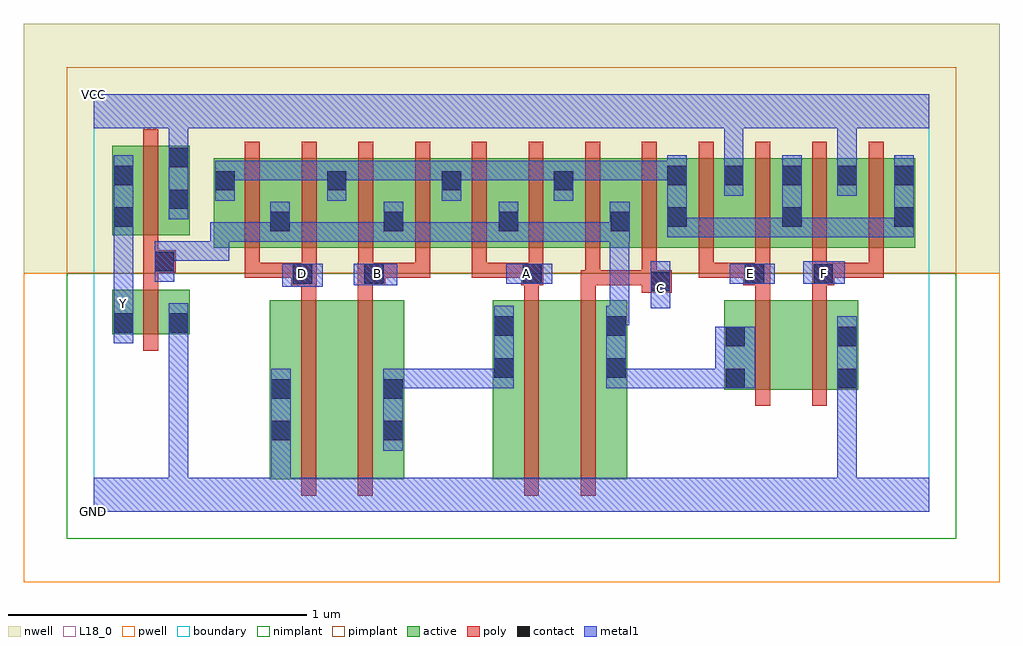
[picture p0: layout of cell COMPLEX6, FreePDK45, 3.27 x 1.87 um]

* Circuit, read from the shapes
.subckt COMPLEX6 A B C D E F GND VCC Y
M1 GND n1 Y VSUBS nfet w=0.15u l=0.05u
M2 n2 D GND VSUBS nfet w=0.6u l=0.05u
M3 n3 B n2 VSUBS nfet w=0.6u l=0.05u
M4 n4 A n3 VSUBS nfet w=0.6u l=0.05u
M5 n1 C n4 VSUBS nfet w=0.6u l=0.05u
M6 n5 E n1 VSUBS nfet w=0.3u l=0.05u
M7 GND F n5 VSUBS nfet w=0.3u l=0.05u
M8 VCC n1 Y n6 pfet w=0.3u l=0.05u
M9 n1 D n7 n6 pfet w=0.3u l=0.05u m=2
M10 n1 B n7 n6 pfet w=0.3u l=0.05u m=2
M11 n1 A n7 n6 pfet w=0.3u l=0.05u m=2
M12 n1 C n7 n6 pfet w=0.3u l=0.05u m=2
M13 VCC E n7 n6 pfet w=0.3u l=0.05u m=2
M14 VCC F n7 n6 pfet w=0.3u l=0.05u m=2
.ends

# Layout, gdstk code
import gdstk
lib = gdstk.Library(unit=1e-6, precision=1e-09)
def R(c, l, rs):  # rectangles x0, y0, x1, y1
    for r in rs: c.add(gdstk.rectangle(r[:2], r[2:], *l))
def A(c, l, x, y, w, h, nx, ny, dx, dy):  # array of equal rectangles
    R(c, l, [(x+i*dx, y+j*dy, x+i*dx+w, y+j*dy+h) for i in range(nx) for j in range(ny)])
active = (1, 0)
pwell = (2, 0)
nwell = (3, 0)
nimplant = (4, 0)
pimplant = (5, 0)
poly = (9, 0)
contact = (10, 0)
metal1 = (11, 0)
L18_0 = (18, 0)
boundary = (235, 0)

complex6 = lib.new_cell('COMPLEX6')
A(complex6, active, 0.402, 0.885, 0.26, 0.3, 3, 1, 0.95, 0)
A(complex6, active, 1.537, 0.885, 0.265, 0.3, 3, 1, 0.19, 0)
R(complex6, active, [(0.59,0.11,0.815,0.71), (0.815,0.11,1.04,0.71), (1.337,0.11,1.562,0.71), (1.562,0.11,1.787,0.71), (0.59,0.145,0.665,0.71), (0.965,0.145,1.04,0.71), (1.337,0.145,1.442,0.71), (1.712,0.145,1.787,0.71), (2.112,0.41,2.187,0.71), (2.112,0.41,2.337,0.71), (2.337,0.41,2.562,0.71), (2.487,0.41,2.562,0.71), (0.062,0.595,0.137,0.745), (0.062,0.595,0.322,0.745), (0.247,0.595,0.322,0.745), (0.402,0.885,0.477,1.185), (0.587,0.885,0.852,1.185), (0.777,0.885,1.042,1.185), (0.967,0.885,1.237,1.185), (1.162,0.885,1.427,1.185), (2.107,0.885,2.377,1.185), (2.302,0.885,2.377,1.167), (2.487,0.885,2.752,1.185), (2.677,0.885,2.752,1.167), (0.062,0.927,0.322,1.227), (0.062,0.927,0.137,1.2), (0.247,0.927,0.322,1.225), (0.587,0.935,0.662,1.07), (0.967,0.935,1.042,1.07), (1.352,0.935,1.427,1.07), (1.727,0.935,1.802,1.07), (1.917,0.95,1.992,1.167), (0.777,0.995,0.852,1.167), (1.162,0.995,1.237,1.167), (1.537,0.995,1.612,1.167), (2.107,0.995,2.182,1.167), (2.487,0.995,2.562,1.185)])
R(complex6, pwell, [(-0.235,-0.235,3.035,0.8)])
R(complex6, nwell, [(-0.235,0.8,3.035,1.635)])
R(complex6, nimplant, [(-0.09,-0.09,2.89,0.8)])
R(complex6, pimplant, [(-0.09,0.8,2.89,1.49)])
A(complex6, poly, 0.507, 0.785, 0.05, 0.095, 6, 1, 0.19, 0)
A(complex6, poly, 2.027, 0.785, 0.05, 0.095, 4, 1, 0.19, 0)
A(complex6, poly, 0.507, 0.83, 0.05, 0.41, 12, 1, 0.19, 0)
R(complex6, poly, [(0.695,0.055,0.745,0.765), (0.885,0.055,0.935,0.765), (1.442,0.055,1.492,0.765), (1.632,0.055,1.682,0.765), (2.217,0.355,2.267,0.765), (2.407,0.355,2.457,0.765), (0.167,0.54,0.217,0.8), (0.695,0.715,0.745,0.81), (0.885,0.715,0.935,0.81), (1.442,0.715,1.492,0.81), (1.632,0.715,1.682,0.81), (2.217,0.715,2.267,0.81), (2.407,0.715,2.457,0.81), (1.837,0.735,1.937,0.81), (0.167,0.75,0.217,0.852), (0.662,0.76,0.747,0.835), (0.885,0.76,0.977,0.835), (1.432,0.76,1.507,0.835), (1.632,0.76,1.697,0.81), (1.647,0.76,1.697,0.88), (1.647,0.76,1.887,0.81), (1.837,0.76,1.887,0.81), (1.837,0.76,1.887,0.81), (1.837,0.76,1.887,0.88), (2.177,0.76,2.267,0.835), (2.407,0.76,2.482,0.835), (0.507,0.785,0.557,0.835), (0.507,0.785,0.557,0.835), (0.507,0.785,0.557,0.835), (0.507,0.785,0.712,0.835), (0.927,0.785,0.977,0.835), (0.927,0.785,0.977,0.835), (0.927,0.785,1.127,0.835), (1.077,0.785,1.127,0.835), (1.267,0.785,1.482,0.835), (1.267,0.785,1.317,0.835), (1.267,0.785,1.317,0.835), (1.267,0.785,1.317,0.835), (2.027,0.785,2.077,0.835), (2.027,0.785,2.077,0.835), (2.027,0.785,2.077,0.835), (2.027,0.785,2.227,0.835), (2.432,0.785,2.647,0.835), (2.432,0.785,2.482,0.835), (2.432,0.785,2.482,0.835), (2.597,0.785,2.647,0.835), (0.167,0.802,0.275,0.877), (0.167,0.827,0.217,0.922), (0.167,0.872,0.217,1.282)])
R(complex6, contact, [(0.595,0.24,0.66,0.305), (0.97,0.24,1.035,0.305), (0.595,0.38,0.66,0.445), (0.97,0.38,1.035,0.445), (2.117,0.415,2.182,0.48), (2.492,0.415,2.557,0.48), (1.342,0.45,1.407,0.515), (1.717,0.45,1.782,0.515), (2.117,0.555,2.182,0.62), (2.492,0.555,2.557,0.62), (1.342,0.59,1.407,0.655), (1.717,0.59,1.782,0.655), (0.067,0.6,0.132,0.665), (0.252,0.6,0.317,0.665), (1.867,0.74,1.932,0.805), (0.667,0.765,0.732,0.83), (0.907,0.765,0.972,0.83), (1.437,0.765,1.502,0.83), (2.182,0.765,2.247,0.83), (2.412,0.765,2.477,0.83), (0.205,0.807,0.27,0.872), (0.592,0.94,0.657,1.005), (0.972,0.94,1.037,1.005), (1.357,0.94,1.422,1.005), (1.732,0.94,1.797,1.005), (0.067,0.955,0.132,1.02), (1.922,0.955,1.987,1.02), (2.307,0.955,2.372,1.02), (2.682,0.955,2.747,1.02), (0.252,1.015,0.317,1.08), (0.407,1.077,0.472,1.142), (0.782,1.077,0.847,1.142), (1.167,1.077,1.232,1.142), (1.542,1.077,1.607,1.142), (0.067,1.095,0.132,1.16), (1.922,1.095,1.987,1.16), (2.112,1.095,2.177,1.16), (2.307,1.095,2.372,1.16), (2.492,1.095,2.557,1.16), (2.682,1.095,2.747,1.16), (0.252,1.155,0.317,1.22)])
R(complex6, metal1, [(0,0,2.8,0.115), (0.252,0.05,0.317,0.115), (0.252,0.05,0.317,0.115), (0.252,0.05,0.317,0.115), (0.252,0.05,0.317,0.115), (0.252,0.05,0.317,0.115), (0.252,0.05,0.317,0.115), (0.252,0.05,0.317,0.115), (0.252,0.05,0.317,0.115), (0.252,0.05,0.317,0.63), (0.595,0.05,0.66,0.27), (2.492,0.05,2.557,0.115), (2.492,0.05,2.557,0.115), (2.492,0.05,2.557,0.115), (2.492,0.05,2.557,0.115), (2.492,0.05,2.557,0.115), (2.492,0.05,2.557,0.115), (2.492,0.05,2.557,0.445), (0.595,0.205,0.66,0.48), (0.595,0.205,0.66,0.27), (0.595,0.205,0.66,0.27), (0.97,0.205,1.035,0.48), (2.492,0.38,2.557,0.655), (0.97,0.415,1.122,0.48), (1.057,0.415,1.122,0.48), (1.057,0.415,1.26,0.48), (1.195,0.415,1.26,0.48), (1.195,0.415,1.26,0.48), (1.195,0.415,1.26,0.48), (1.195,0.415,1.407,0.48), (1.342,0.415,1.407,0.69), (1.717,0.415,1.782,0.69), (1.717,0.415,1.902,0.48), (1.837,0.415,1.902,0.48), (1.837,0.415,1.932,0.48), (1.867,0.415,1.932,0.48), (1.867,0.415,2.06,0.48), (1.995,0.415,2.06,0.48), (1.995,0.415,2.147,0.48), (2.082,0.415,2.217,0.62), (0.067,0.565,0.132,0.7), (0.252,0.565,0.317,0.7), (1.717,0.625,1.782,0.69), (1.717,0.625,1.795,0.69), (1.73,0.625,1.795,0.97), (0.067,0.632,0.132,0.697), (0.067,0.632,0.132,0.767), (1.867,0.682,1.932,0.84), (0.067,0.702,0.132,0.985), (0.632,0.755,0.767,0.832), (0.872,0.76,1.017,0.832), (1.382,0.765,1.537,0.832), (2.132,0.765,2.282,0.832), (2.377,0.765,2.517,0.84), (0.205,0.772,0.27,0.907), (0.205,0.842,0.27,0.907), (0.205,0.842,0.27,0.907), (0.205,0.842,0.27,0.907), (0.205,0.842,0.27,0.907), (0.205,0.842,0.455,0.907), (0.39,0.842,0.455,0.907), (0.39,0.842,0.455,0.907), (0.39,0.842,0.455,0.97), (0.39,0.905,0.657,0.97), (0.592,0.905,0.657,0.97), (0.592,0.905,0.657,0.97), (0.592,0.905,0.657,1.04), (0.592,0.905,0.837,0.97), (0.772,0.905,0.837,0.97), (0.772,0.905,0.837,0.97), (0.772,0.905,0.837,0.97), (0.772,0.905,1.037,0.97), (0.972,0.905,1.037,1.04), (0.972,0.905,1.122,0.97), (1.057,0.905,1.122,0.97), (1.057,0.905,1.26,0.97), (1.195,0.905,1.26,0.97), (1.195,0.905,1.26,0.97), (1.195,0.905,1.26,0.97), (1.195,0.905,1.422,0.97), (1.357,0.905,1.422,1.04), (1.357,0.905,1.56,0.97), (1.495,0.905,1.56,0.97), (1.495,0.905,1.56,0.97), (1.495,0.905,1.56,0.97), (1.495,0.905,1.745,0.97), (1.68,0.905,1.745,0.97), (1.68,0.905,1.795,0.97), (1.73,0.905,1.797,1.04), (0.067,0.92,0.132,1.195), (1.922,0.92,1.987,1.195), (1.922,0.92,1.987,0.985), (1.922,0.92,1.987,0.985), (1.922,0.92,2.04,0.985), (1.975,0.92,2.04,0.985), (1.975,0.92,2.125,0.985), (2.06,0.92,2.125,0.985), (2.06,0.92,2.235,0.985), (2.17,0.92,2.372,0.985), (2.17,0.92,2.235,0.985), (2.307,0.92,2.372,1.195), (2.307,0.92,2.372,0.985), (2.307,0.92,2.372,0.985), (2.307,0.92,2.61,0.985), (2.545,0.92,2.747,0.985), (2.545,0.92,2.61,0.985), (2.545,0.92,2.61,0.985), (2.545,0.92,2.61,0.985), (2.682,0.92,2.747,1.195), (0.252,0.98,0.317,1.255), (0.407,1.042,0.472,1.177), (0.782,1.042,0.847,1.177), (1.167,1.042,1.232,1.177), (1.542,1.042,1.607,1.177), (2.112,1.06,2.177,1.195), (2.492,1.06,2.557,1.195), (0.407,1.112,0.472,1.177), (0.407,1.112,0.472,1.177), (0.407,1.112,0.7,1.177), (0.635,1.112,0.7,1.177), (0.635,1.112,0.7,1.177), (0.635,1.112,0.7,1.177), (0.635,1.112,0.847,1.177), (0.782,1.112,0.985,1.177), (0.92,1.112,1.122,1.177), (0.92,1.112,0.985,1.177), (0.92,1.112,0.985,1.177), (0.92,1.112,0.985,1.177), (1.057,1.112,1.122,1.177), (1.057,1.112,1.232,1.177), (1.167,1.112,1.26,1.177), (1.195,1.112,1.26,1.177), (1.195,1.112,1.422,1.177), (1.357,1.112,1.422,1.177), (1.357,1.112,1.422,1.177), (1.357,1.112,1.422,1.177), (1.357,1.112,1.607,1.177), (1.542,1.112,1.745,1.177), (1.68,1.112,1.882,1.177), (1.68,1.112,1.745,1.177), (1.68,1.112,1.745,1.177), (1.68,1.112,1.745,1.177), (1.817,1.112,1.882,1.177), (1.817,1.112,1.987,1.177), (2.112,1.13,2.177,1.195), (2.112,1.13,2.177,1.195), (2.112,1.13,2.177,1.35), (2.492,1.13,2.557,1.195), (2.492,1.13,2.557,1.195), (2.492,1.13,2.557,1.35), (0.252,1.19,0.317,1.255), (0.252,1.19,0.317,1.255), (0.252,1.19,0.317,1.35), (0,1.285,2.8,1.4)])
R(complex6, L18_0, [(0,0,2.8,0.115), (0.252,0.05,0.317,0.115), (0.252,0.05,0.317,0.115), (0.252,0.05,0.317,0.115), (0.252,0.05,0.317,0.115), (0.252,0.05,0.317,0.115), (0.252,0.05,0.317,0.115), (0.252,0.05,0.317,0.115), (0.252,0.05,0.317,0.115), (0.252,0.05,0.317,0.63), (0.595,0.05,0.66,0.27), (2.492,0.05,2.557,0.115), (2.492,0.05,2.557,0.115), (2.492,0.05,2.557,0.115), (2.492,0.05,2.557,0.115), (2.492,0.05,2.557,0.115), (2.492,0.05,2.557,0.115), (2.492,0.05,2.557,0.445), (0.595,0.205,0.66,0.27), (0.595,0.205,0.66,0.27), (0.595,0.205,0.66,0.48), (2.492,0.38,2.557,0.655), (0.067,0.565,0.132,0.7), (0.252,0.565,0.317,0.7), (0.067,0.632,0.132,0.767), (0.067,0.632,0.132,0.697), (0.067,0.667,0.132,0.732), (1.867,0.682,1.932,0.84), (0.067,0.702,0.132,0.985), (1.867,0.717,1.932,0.782), (0.632,0.755,0.767,0.832), (0.872,0.76,1.017,0.832), (1.382,0.765,1.537,0.832), (2.132,0.765,2.282,0.832), (2.377,0.765,2.517,0.84), (0.667,0.767,0.732,0.832), (0.917,0.767,0.982,0.832), (1.417,0.767,1.482,0.832), (2.167,0.767,2.232,0.832), (2.417,0.767,2.482,0.832), (0.067,0.92,0.132,1.195), (0.252,0.98,0.317,1.255), (2.112,1.06,2.177,1.195), (2.492,1.06,2.557,1.195), (2.112,1.13,2.177,1.195), (2.112,1.13,2.177,1.195), (2.112,1.13,2.177,1.35), (2.492,1.13,2.557,1.195), (2.492,1.13,2.557,1.195), (2.492,1.13,2.557,1.35), (0.252,1.19,0.317,1.255), (0.252,1.19,0.317,1.255), (0.252,1.19,0.317,1.35), (0,1.285,2.8,1.4)])
R(complex6, boundary, [(0,0,2.8,1.4)])
complex6.add(gdstk.Label('A', (1.45,0.8), layer=11, texttype=0))
complex6.add(gdstk.Label('B', (0.95,0.8), layer=11, texttype=0))
complex6.add(gdstk.Label('C', (1.9,0.75), layer=11, texttype=0))
complex6.add(gdstk.Label('D', (0.7,0.8), layer=11, texttype=0))
complex6.add(gdstk.Label('E', (2.2,0.8), layer=11, texttype=0))
complex6.add(gdstk.Label('F', (2.45,0.8), layer=11, texttype=0))
complex6.add(gdstk.Label('Y', (0.1,0.7), layer=11, texttype=0))
complex6.add(gdstk.Label('VCC', (0,1.4), layer=11, texttype=0))
complex6.add(gdstk.Label('GND', (0,0), layer=11, texttype=0))

lib.write_gds('COMPLEX6.gds')
